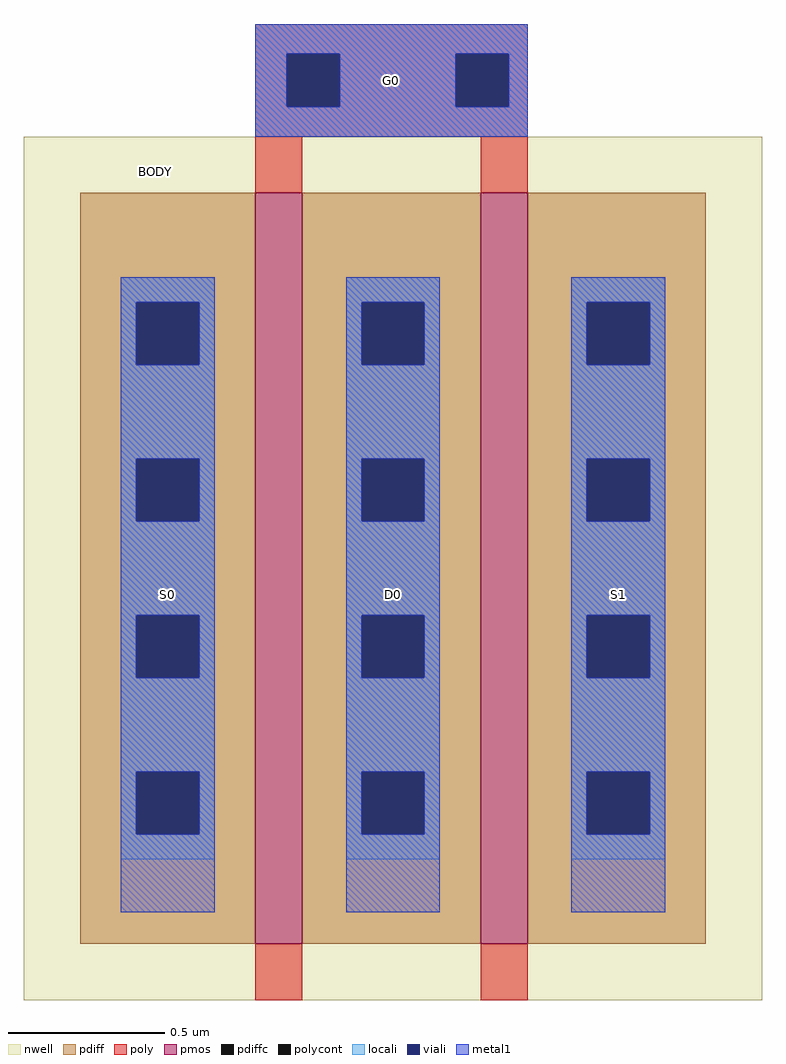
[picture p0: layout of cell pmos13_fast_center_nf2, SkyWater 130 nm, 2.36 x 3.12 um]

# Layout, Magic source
magic
tech sky130A
magscale 1 2
<< nwell >>
rect -92 132 380 684
<< pmos >>
rect 56 168 86 648
rect 200 168 230 648
<< pdiff >>
rect -56 578 56 648
rect -56 538 -20 578
rect 20 538 56 578
rect -56 478 56 538
rect -56 438 -20 478
rect 20 438 56 478
rect -56 378 56 438
rect -56 338 -20 378
rect 20 338 56 378
rect -56 278 56 338
rect -56 238 -20 278
rect 20 238 56 278
rect -56 168 56 238
rect 86 578 200 648
rect 86 538 124 578
rect 164 538 200 578
rect 86 478 200 538
rect 86 438 124 478
rect 164 438 200 478
rect 86 378 200 438
rect 86 338 124 378
rect 164 338 200 378
rect 86 278 200 338
rect 86 238 124 278
rect 164 238 200 278
rect 86 168 200 238
rect 230 578 344 648
rect 230 538 268 578
rect 308 538 344 578
rect 230 478 344 538
rect 230 438 268 478
rect 308 438 344 478
rect 230 378 344 438
rect 230 338 268 378
rect 308 338 344 378
rect 230 278 344 338
rect 230 238 268 278
rect 308 238 344 278
rect 230 168 344 238
<< pdiffc >>
rect -20 538 20 578
rect -20 438 20 478
rect -20 338 20 378
rect -20 238 20 278
rect 124 538 164 578
rect 124 438 164 478
rect 124 338 164 378
rect 124 238 164 278
rect 268 538 308 578
rect 268 438 308 478
rect 268 338 308 378
rect 268 238 308 278
<< poly >>
rect 56 737 230 756
rect 56 703 76 737
rect 110 703 184 737
rect 218 703 230 737
rect 56 684 230 703
rect 56 648 86 684
rect 200 648 230 684
rect 56 132 86 168
rect 200 132 230 168
<< polycont >>
rect 76 703 110 737
rect 184 703 218 737
<< locali >>
rect 56 737 230 756
rect 56 703 76 737
rect 110 703 184 737
rect 218 703 230 737
rect 56 684 230 703
rect -30 578 30 594
rect -30 538 -20 578
rect 20 538 30 578
rect -30 478 30 538
rect -30 438 -20 478
rect 20 438 30 478
rect -30 378 30 438
rect -30 338 -20 378
rect 20 338 30 378
rect -30 278 30 338
rect -30 238 -20 278
rect 20 238 30 278
rect -30 222 30 238
rect 114 578 174 594
rect 114 538 124 578
rect 164 538 174 578
rect 114 478 174 538
rect 114 438 124 478
rect 164 438 174 478
rect 114 378 174 438
rect 114 338 124 378
rect 164 338 174 378
rect 114 278 174 338
rect 114 238 124 278
rect 164 238 174 278
rect 114 222 174 238
rect 258 578 318 594
rect 258 538 268 578
rect 308 538 318 578
rect 258 478 318 538
rect 258 438 268 478
rect 308 438 318 478
rect 258 378 318 438
rect 258 338 268 378
rect 308 338 318 378
rect 258 278 318 338
rect 258 238 268 278
rect 308 238 318 278
rect 258 222 318 238
<< viali >>
rect 76 703 110 737
rect 184 703 218 737
rect -20 538 20 578
rect -20 438 20 478
rect -20 338 20 378
rect -20 238 20 278
rect 124 538 164 578
rect 124 438 164 478
rect 124 338 164 378
rect 124 238 164 278
rect 268 538 308 578
rect 268 438 308 478
rect 268 338 308 378
rect 268 238 308 278
<< metal1 >>
rect 56 737 230 756
rect 56 703 76 737
rect 110 703 184 737
rect 218 703 230 737
rect 56 684 230 703
rect -30 578 30 594
rect -30 538 -20 578
rect 20 538 30 578
rect -30 478 30 538
rect -30 438 -20 478
rect 20 438 30 478
rect -30 378 30 438
rect -30 338 -20 378
rect 20 338 30 378
rect -30 278 30 338
rect -30 238 -20 278
rect 20 238 30 278
rect -30 188 30 238
rect 114 578 174 594
rect 114 538 124 578
rect 164 538 174 578
rect 114 478 174 538
rect 114 438 124 478
rect 164 438 174 478
rect 114 378 174 438
rect 114 338 124 378
rect 164 338 174 378
rect 114 278 174 338
rect 114 238 124 278
rect 164 238 174 278
rect 114 188 174 238
rect 258 578 318 594
rect 258 538 268 578
rect 308 538 318 578
rect 258 478 318 538
rect 258 438 268 478
rect 308 438 318 478
rect 258 378 318 438
rect 258 338 268 378
rect 308 338 318 378
rect 258 278 318 338
rect 258 238 268 278
rect 308 238 318 278
rect 258 188 318 238
<< labels >>
flabel metal1 114 188 174 594 0 FreeSans 160 0 0 0 D0
port 1 nsew
flabel metal1 56 684 230 756 0 FreeSans 160 0 0 0 G0
port 2 nsew
flabel metal1 -30 188 30 594 0 FreeSans 160 0 0 0 S0
port 3 nsew
flabel metal1 258 188 318 594 0 FreeSans 160 0 0 0 S1
port 4 nsew
flabel nwell -20 654 4 670 0 FreeSans 80 0 0 0 BODY
port 5 nsew
<< end >>
